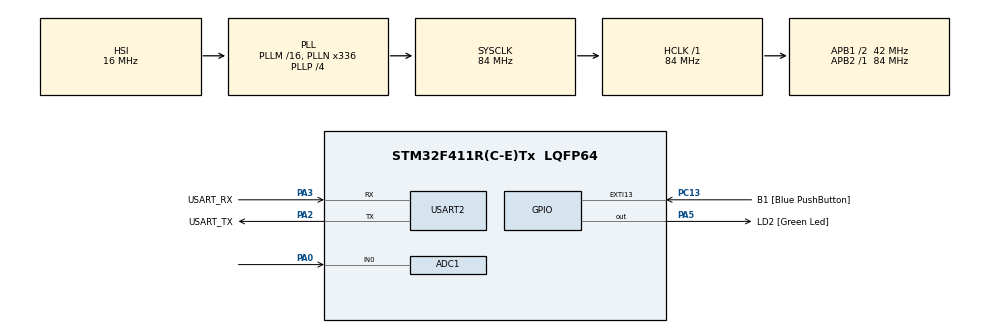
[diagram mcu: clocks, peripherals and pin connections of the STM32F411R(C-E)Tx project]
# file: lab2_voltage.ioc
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ADC1.Channel-0\#ChannelRegularConversion=ADC_CHANNEL_0
ADC1.Channel-1\#ChannelRegularConversion=ADC_CHANNEL_TEMPSENSOR
ADC1.ContinuousConvMode=ENABLE
ADC1.DMAContinuousRequests=ENABLE
ADC1.NbrOfConversion=2
ADC1.NbrOfConversionFlag=1
ADC1.Rank-0\#ChannelRegularConversion=1
ADC1.Rank-1\#ChannelRegularConversion=2
ADC1.SamplingTime-0\#ChannelRegularConversion=ADC_SAMPLETIME_56CYCLES
ADC1.SamplingTime-1\#ChannelRegularConversion=ADC_SAMPLETIME_56CYCLES
ADC1.ScanConvMode=ENABLE
ADC1.master=1
Dma.ADC1.0.Direction=DMA_PERIPH_TO_MEMORY
Dma.ADC1.0.FIFOMode=DMA_FIFOMODE_DISABLE
Dma.ADC1.0.Instance=DMA2_Stream0
Dma.ADC1.0.MemDataAlignment=DMA_MDATAALIGN_HALFWORD
Dma.ADC1.0.MemInc=DMA_MINC_ENABLE
Dma.ADC1.0.Mode=DMA_CIRCULAR
Dma.ADC1.0.PeriphDataAlignment=DMA_PDATAALIGN_HALFWORD
Dma.ADC1.0.PeriphInc=DMA_PINC_DISABLE
Dma.ADC1.0.Priority=DMA_PRIORITY_LOW
Dma.Request0=ADC1
Mcu.Family=STM32F4
Mcu.Name=STM32F411R(C-E)Tx
Mcu.Package=LQFP64
NVIC.DMA2_Stream0_IRQn=true\:0\:0\:false\:false\:true\:false\:true\:true
NVIC.EXTI15_10_IRQn=true\:0\:0\:false\:false\:true\:true\:true\:true
NVIC.PriorityGroup=NVIC_PRIORITYGROUP_0
PA0-WKUP.Signal=ADCx_IN0
PA13.GPIO_Label=TMS
PA13.Mode=Serial_Wire
PA13.Signal=SYS_JTMS-SWDIO
PA14.GPIO_Label=TCK
PA14.Mode=Serial_Wire
PA14.Signal=SYS_JTCK-SWCLK
PA2.GPIO_Label=USART_TX
PA2.Mode=Asynchronous
PA2.Signal=USART2_TX
PA3.GPIO_Label=USART_RX
PA3.Mode=Asynchronous
PA3.Signal=USART2_RX
PA5.GPIO_Label=LD2 [Green Led]
PA5.Signal=GPIO_Output
PB3.GPIO_Label=SWO
PB3.Signal=SYS_JTDO-SWO
PC13-ANTI_TAMP.GPIO_Label=B1 [Blue PushButton]
PC13-ANTI_TAMP.GPIO_ModeDefaultEXTI=GPIO_MODE_IT_FALLING
PC13-ANTI_TAMP.Signal=GPXTI13
PC14-OSC32_IN.Mode=LSE-External-Oscillator
PC14-OSC32_IN.Signal=RCC_OSC32_IN
PC15-OSC32_OUT.Mode=LSE-External-Oscillator
PC15-OSC32_OUT.Signal=RCC_OSC32_OUT
PH0\ -\ OSC_IN.Mode=HSE-External-Clock-Source
PH0\ -\ OSC_IN.Signal=RCC_OSC_IN
PH1\ -\ OSC_OUT.Mode=HSE-External-Clock-Source
PH1\ -\ OSC_OUT.Signal=RCC_OSC_OUT
ProjectManager.HeapSize=0x200
ProjectManager.StackSize=0x400
ProjectManager.TargetToolchain=STM32CubeIDE
RCC.48MHZClocksFreq_Value=84000000
RCC.AHBFreq_Value=84000000
RCC.APB1CLKDivider=RCC_HCLK_DIV2
RCC.APB1Freq_Value=42000000
RCC.APB1TimFreq_Value=84000000
RCC.APB2Freq_Value=84000000
RCC.APB2TimFreq_Value=84000000
RCC.CortexFreq_Value=84000000
RCC.FLatency-AdvancedSettings=FLASH_LATENCY_2
RCC.HCLKFreq_Value=84000000
RCC.HSE_VALUE=8000000
RCC.HSI_VALUE=16000000
RCC.PLLN=336
RCC.PLLP=RCC_PLLP_DIV4
RCC.SYSCLKFreq_VALUE=84000000
RCC.SYSCLKSource=RCC_SYSCLKSOURCE_PLLCLK
RCC.VCOOutputFreq_Value=336000000
SH.ADCx_IN0.0=ADC1_IN0,IN0
USART2.VirtualMode=VM_ASYNC
VP_ADC1_TempSens_Input.Mode=IN-TempSens
board=NUCLEO-F411RE

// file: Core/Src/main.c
/* USER CODE BEGIN Header */
/**
  ******************************************************************************
  * @file           : main.c
  * @brief          : Main program body
  ******************************************************************************
  * @attention
  *
  * Copyright (c) 2023 STMicroelectronics.
  * All rights reserved.
  *
  * This software is licensed under terms that can be found in the LICENSE file
  * in the root directory of this software component.
  * If no LICENSE file comes with this software, it is provided AS-IS.
  *
  ******************************************************************************
  */
/* USER CODE END Header */
#include "main.h"

ADC_HandleTypeDef hadc1;
DMA_HandleTypeDef hdma_adc1;

UART_HandleTypeDef huart2;

/* USER CODE BEGIN PV */
uint16_t adcRawData[20];
uint16_t voltage[10];
uint16_t temperature[10];
/* USER CODE END PV */

void SystemClock_Config(void);
static void MX_GPIO_Init(void);
static void MX_DMA_Init(void);
static void MX_USART2_UART_Init(void);
static void MX_ADC1_Init(void);

/* USER CODE BEGIN 0 */
int sumvolt = 0;
int realvolt = 0;
int sumtemp = 0;
int realtemp = 0;
/* USER CODE END 0 */

int main(void)
{

  /* MCU Configuration--------------------------------------------------------*/

  /* Reset of all peripherals, Initializes the Flash interface and the Systick. */
  HAL_Init();

  /* Configure the system clock */
  SystemClock_Config();

  /* Initialize all configured peripherals */
  MX_GPIO_Init();
  MX_DMA_Init();
  MX_USART2_UART_Init();
  MX_ADC1_Init();

  /* Infinite loop */
  /* USER CODE BEGIN WHILE */
  while (1)
  {
	  //Call function every 0.001 milliseconds = 1Hz
	  static uint32_t timestamp = 0;
	  if(HAL_GetTick() >= timestamp)
	  {
		  timestamp = HAL_GetTick() + 1000;

		  for(int i = 0; i < 20; i++)
		  {
			  if(i % 2 == 0)
			  {
				  voltage[i/2] = (adcRawData[i]*(3300/(4095.0)))*2;
				  sumvolt += voltage[i/2];
				  if(i == 18)
				  {
					  realvolt = sumvolt/10;
				  }

			  }
			  else if(i % 2 == 1)
			  {
				  temperature[(i-1)/2] = (((((adcRawData[i]*(3300/(4095.0))) - 760)/2.5)+25)+273.15);
				  sumtemp += temperature[(i-1)/2];
				  if(i == 19)
				  {
					  realtemp = sumtemp/10;
				  }
			  }
		  }
		  sumvolt = 0;
		  sumtemp = 0;

//			  realvolt = (voltage[0]+voltage[1]+voltage[2]+voltage[3]+voltage[4]+voltage[5]+voltage[6]+voltage[7]+voltage[8]+voltage[9])/10;

//			  realtemp = (temperature[0]+temperature[1]+temperature[2]+temperature[3]+temperature[4]+temperature[5]+temperature[6]+temperature[7]+temperature[8]+temperature[9])/10;

	  }

    /* USER CODE END WHILE */

 }
}

void SystemClock_Config(void)
{
  RCC_OscInitTypeDef RCC_OscInitStruct = {0};
  RCC_ClkInitTypeDef RCC_ClkInitStruct = {0};

  /** Configure the main internal regulator output voltage
  */
  __HAL_RCC_PWR_CLK_ENABLE();
  __HAL_PWR_VOLTAGESCALING_CONFIG(PWR_REGULATOR_VOLTAGE_SCALE1);

  /** Initializes the RCC Oscillators according to the specified parameters
  * in the RCC_OscInitTypeDef structure.
  */
  RCC_OscInitStruct.OscillatorType = RCC_OSCILLATORTYPE_HSI;
  RCC_OscInitStruct.HSIState = RCC_HSI_ON;
  RCC_OscInitStruct.HSICalibrationValue = RCC_HSICALIBRATION_DEFAULT;
  RCC_OscInitStruct.PLL.PLLState = RCC_PLL_ON;
  RCC_OscInitStruct.PLL.PLLSource = RCC_PLLSOURCE_HSI;
  RCC_OscInitStruct.PLL.PLLM = 16;
  RCC_OscInitStruct.PLL.PLLN = 336;
  RCC_OscInitStruct.PLL.PLLP = RCC_PLLP_DIV4;
  RCC_OscInitStruct.PLL.PLLQ = 4;
  if (HAL_RCC_OscConfig(&RCC_OscInitStruct) != HAL_OK)
  {
    Error_Handler();
  }

  /** Initializes the CPU, AHB and APB buses clocks
  */
  RCC_ClkInitStruct.ClockType = RCC_CLOCKTYPE_HCLK|RCC_CLOCKTYPE_SYSCLK
                              |RCC_CLOCKTYPE_PCLK1|RCC_CLOCKTYPE_PCLK2;
  RCC_ClkInitStruct.SYSCLKSource = RCC_SYSCLKSOURCE_PLLCLK;
  RCC_ClkInitStruct.AHBCLKDivider = RCC_SYSCLK_DIV1;
  RCC_ClkInitStruct.APB1CLKDivider = RCC_HCLK_DIV2;
  RCC_ClkInitStruct.APB2CLKDivider = RCC_HCLK_DIV1;

  if (HAL_RCC_ClockConfig(&RCC_ClkInitStruct, FLASH_LATENCY_2) != HAL_OK)
  {
    Error_Handler();
  }
}

static void MX_ADC1_Init(void)
{

  ADC_ChannelConfTypeDef sConfig = {0};

  /** Configure the global features of the ADC (Clock, Resolution, Data Alignment and number of conversion)
  */
  hadc1.Instance = ADC1;
  hadc1.Init.ClockPrescaler = ADC_CLOCK_SYNC_PCLK_DIV4;
  hadc1.Init.Resolution = ADC_RESOLUTION_12B;
  hadc1.Init.ScanConvMode = ENABLE;
  hadc1.Init.ContinuousConvMode = ENABLE;
  hadc1.Init.DiscontinuousConvMode = DISABLE;
  hadc1.Init.ExternalTrigConvEdge = ADC_EXTERNALTRIGCONVEDGE_NONE;
  hadc1.Init.ExternalTrigConv = ADC_SOFTWARE_START;
  hadc1.Init.DataAlign = ADC_DATAALIGN_RIGHT;
  hadc1.Init.NbrOfConversion = 2;
  hadc1.Init.DMAContinuousRequests = ENABLE;
  hadc1.Init.EOCSelection = ADC_EOC_SINGLE_CONV;
  if (HAL_ADC_Init(&hadc1) != HAL_OK)
  {
    Error_Handler();
  }

  /** Configure for the selected ADC regular channel its corresponding rank in the sequencer and its sample time.
  */
  sConfig.Channel = ADC_CHANNEL_0;
  sConfig.Rank = 1;
  sConfig.SamplingTime = ADC_SAMPLETIME_56CYCLES;
  if (HAL_ADC_ConfigChannel(&hadc1, &sConfig) != HAL_OK)
  {
    Error_Handler();
  }

  /** Configure for the selected ADC regular channel its corresponding rank in the sequencer and its sample time.
  */
  sConfig.Channel = ADC_CHANNEL_TEMPSENSOR;
  sConfig.Rank = 2;
  if (HAL_ADC_ConfigChannel(&hadc1, &sConfig) != HAL_OK)
  {
    Error_Handler();
  }

}

static void MX_USART2_UART_Init(void)
{

  huart2.Instance = USART2;
  huart2.Init.BaudRate = 115200;
  huart2.Init.WordLength = UART_WORDLENGTH_8B;
  huart2.Init.StopBits = UART_STOPBITS_1;
  huart2.Init.Parity = UART_PARITY_NONE;
  huart2.Init.Mode = UART_MODE_TX_RX;
  huart2.Init.HwFlowCtl = UART_HWCONTROL_NONE;
  huart2.Init.OverSampling = UART_OVERSAMPLING_16;
  if (HAL_UART_Init(&huart2) != HAL_OK)
  {
    Error_Handler();
  }

}

static void MX_DMA_Init(void)
{

  /* DMA controller clock enable */
  __HAL_RCC_DMA2_CLK_ENABLE();

  /* DMA interrupt init */
  /* DMA2_Stream0_IRQn interrupt configuration */
  HAL_NVIC_SetPriority(DMA2_Stream0_IRQn, 0, 0);
  HAL_NVIC_EnableIRQ(DMA2_Stream0_IRQn);

}

static void MX_GPIO_Init(void)
{
  GPIO_InitTypeDef GPIO_InitStruct = {0};

  /* GPIO Ports Clock Enable */
  __HAL_RCC_GPIOC_CLK_ENABLE();
  __HAL_RCC_GPIOH_CLK_ENABLE();
  __HAL_RCC_GPIOA_CLK_ENABLE();
  __HAL_RCC_GPIOB_CLK_ENABLE();

  /*Configure GPIO pin Output Level */
  HAL_GPIO_WritePin(LD2_GPIO_Port, LD2_Pin, GPIO_PIN_RESET);

  /*Configure GPIO pin : B1_Pin */
  GPIO_InitStruct.Pin = B1_Pin;
  GPIO_InitStruct.Mode = GPIO_MODE_IT_FALLING;
  GPIO_InitStruct.Pull = GPIO_NOPULL;
  HAL_GPIO_Init(B1_GPIO_Port, &GPIO_InitStruct);

  /*Configure GPIO pin : LD2_Pin */
  GPIO_InitStruct.Pin = LD2_Pin;
  GPIO_InitStruct.Mode = GPIO_MODE_OUTPUT_PP;
  GPIO_InitStruct.Pull = GPIO_NOPULL;
  GPIO_InitStruct.Speed = GPIO_SPEED_FREQ_LOW;
  HAL_GPIO_Init(LD2_GPIO_Port, &GPIO_InitStruct);

  /* EXTI interrupt init*/
  HAL_NVIC_SetPriority(EXTI15_10_IRQn, 0, 0);
  HAL_NVIC_EnableIRQ(EXTI15_10_IRQn);

}

/* USER CODE BEGIN 4 */

void HAL_GPIO_EXTI_Callback(uint16_t GPIO_Pin)
{
	if (GPIO_Pin == B1_Pin)
	{
		HAL_ADC_Start_DMA(&hadc1, adcRawData, 20);
	}
}
void HAL_ADC_ConvCpltCallback(ADC_HandleTypeDef* hadc)
{
//	adcRawData[i] = HAL_ADC_GetValue(&hadc1);
//	i++;
}
/* USER CODE END 4 */

void Error_Handler(void)
{
  __disable_irq();
  while (1)
  {
  }
}
